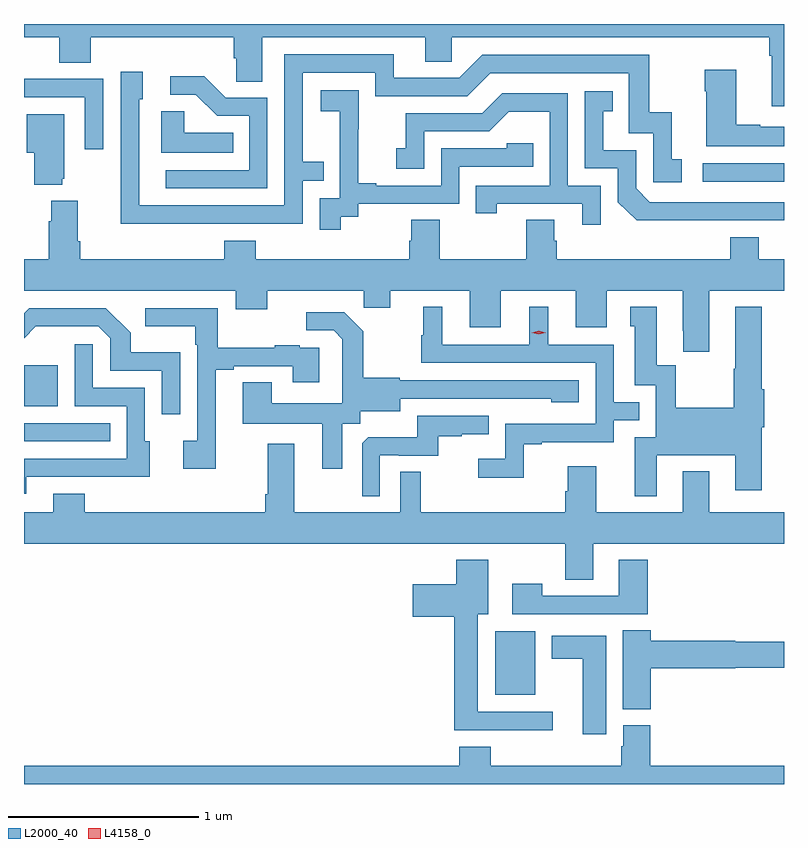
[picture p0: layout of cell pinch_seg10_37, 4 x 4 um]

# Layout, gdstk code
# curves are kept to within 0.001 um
import gdstk
lib = gdstk.Library(unit=1e-6, precision=1e-09)
def R(c, l, rs):  # rectangles x0, y0, x1, y1
    for r in rs: c.add(gdstk.rectangle(r[:2], r[2:], *l))
def P(c, l, *ps):  # polygons
    for p in ps: c.add(gdstk.Polygon(p, *l))
L2000_40 = (2000, 40)
L4158_0 = (4158, 0)

pinch_seg10_37 = lib.new_cell('pinch_seg10_37')
R(pinch_seg10_37, L2000_40, [(903.05,1292.861,903.262,1293.196), (900.57,1294.194,901.025,1294.29), (900.57,1294.379,900.748,1294.594), (904.143,1295.562,904.57,1295.658)])
P(pinch_seg10_37, L2000_40, [(904.57,1296.391),(900.57,1296.391),(900.57,1296.32),(900.755,1296.32),(900.755,1296.187),(900.92,1296.187),(900.92,1296.32),(901.673,1296.32),(901.673,1296.211),(901.686,1296.211),(901.686,1296.088),(901.825,1296.088),(901.825,1296.32),(902.681,1296.32),(902.681,1296.193),(902.82,1296.193),(902.82,1296.32),(904.493,1296.32),(904.493,1296.224),(904.505,1296.224),(904.505,1295.958),(904.57,1295.958)],
  [(901.541,1295.34),(902.037,1295.34),(902.037,1295.565),(902.147,1295.565),(902.147,1295.666),(902.037,1295.666),(902.037,1296.135),(902.418,1296.135),(902.418,1296.012),(902.904,1296.012),(903.024,1296.132),(903.753,1296.132),(903.753,1295.817),(903.882,1295.817),(903.882,1295.559),(904.033,1295.559),(904.033,1295.679),(903.98,1295.679),(903.98,1295.926),(903.862,1295.926),(903.862,1296.228),(902.982,1296.228),(902.862,1296.108),(902.515,1296.108),(902.515,1296.231),(901.941,1296.231),(901.941,1295.436),(901.176,1295.436),(901.176,1295.994),(901.195,1295.994),(901.195,1296.139),(901.08,1296.139),(901.08,1295.645),(901.078,1295.645),(901.078,1295.339)],
  [(904.57,1295.851),(904.445,1295.851),(904.445,1295.861),(904.318,1295.861),(904.318,1296.151),(904.153,1296.151),(904.153,1296.038),(904.16,1296.038),(904.16,1295.747),(904.57,1295.747)],
  [(901.851,1296.003),(901.632,1296.003),(901.519,1296.116),(901.341,1296.116),(901.341,1296.018),(901.475,1296.018),(901.586,1295.907),(901.755,1295.907),(901.755,1295.622),(901.317,1295.622),(901.317,1295.526),(901.851,1295.526)],
  [(900.987,1296.102),(900.671,1296.102),(900.671,1296.104),(900.57,1296.104),(900.57,1296.006),(900.891,1296.006),(900.891,1295.733),(900.987,1295.733)],
  [(902.236,1295.377),(902.328,1295.377),(902.328,1295.445),(902.862,1295.445),(902.862,1295.64),(903.251,1295.64),(903.251,1295.763),(903.111,1295.763),(903.111,1295.736),(902.766,1295.736),(902.766,1295.541),(902.425,1295.541),(902.425,1295.554),(902.33,1295.554),(902.33,1295.837),(902.331,1295.837),(902.331,1296.043),(902.133,1296.043),(902.133,1295.933),(902.231,1295.933),(902.231,1295.705),(902.232,1295.705),(902.232,1295.475),(902.127,1295.475),(902.127,1295.307),(902.236,1295.307)],
  [(904.202,1295.358),(904.57,1295.358),(904.57,1295.454),(903.864,1295.454),(903.792,1295.526),(903.792,1295.727),(903.619,1295.727),(903.619,1295.931),(903.668,1295.931),(903.668,1296.037),(903.522,1296.037),(903.522,1295.631),(903.696,1295.631),(903.696,1295.454),(903.794,1295.357)],
  [(903.606,1295.541),(903.432,1295.541),(903.432,1296.027),(903.086,1296.027),(902.981,1295.922),(902.578,1295.922),(902.578,1295.737),(902.529,1295.737),(902.529,1295.628),(902.676,1295.628),(902.676,1295.826),(903.018,1295.826),(903.122,1295.93),(903.336,1295.93),(903.336,1295.541),(902.947,1295.541),(902.947,1295.394),(903.058,1295.394),(903.058,1295.445),(903.509,1295.445),(903.509,1295.334),(903.606,1295.334)],
  [(901.67,1295.818),(901.413,1295.818),(901.413,1295.933),(901.292,1295.933),(901.292,1295.714),(901.67,1295.714)],
  [(900.77,1295.577),(900.781,1295.577),(900.781,1295.917),(900.584,1295.917),(900.584,1295.714),(900.623,1295.714),(900.623,1295.546),(900.77,1295.546)],
  [(904.177,1294.988),(904.57,1294.988),(904.57,1295.152),(904.438,1295.152),(904.438,1295.269),(904.286,1295.269),(904.286,1295.152),(903.374,1295.152),(903.374,1295.25),(903.361,1295.25),(903.361,1295.36),(903.214,1295.36),(903.214,1295.152),(902.757,1295.152),(902.757,1295.36),(902.609,1295.36),(902.609,1295.25),(902.597,1295.25),(902.597,1295.152),(901.79,1295.152),(901.79,1295.251),(901.625,1295.251),(901.625,1295.152),(900.866,1295.152),(900.866,1295.248),(900.853,1295.248),(900.853,1295.461),(900.713,1295.461),(900.713,1295.354),(900.701,1295.354),(900.701,1295.152),(900.57,1295.152),(900.57,1294.988),(901.685,1294.988),(901.685,1294.889),(901.849,1294.889),(901.849,1294.988),(902.359,1294.988),(902.359,1294.898),(902.497,1294.898),(902.497,1294.988),(902.915,1294.988),(902.915,1294.794),(903.079,1294.794),(903.079,1294.988),(903.473,1294.988),(903.473,1294.794),(903.637,1294.794),(903.637,1294.988),(904.037,1294.988),(904.037,1294.777),(904.04,1294.777),(904.04,1294.665),(904.177,1294.665)],
  [(903.901,1294.121),(904.313,1294.121),(904.313,1293.936),(904.453,1293.936),(904.453,1294.268),(904.466,1294.268),(904.466,1294.468),(904.453,1294.468),(904.453,1294.903),(904.313,1294.903),(904.313,1294.577),(904.306,1294.577),(904.306,1294.372),(903.999,1294.372),(903.999,1294.595),(903.901,1294.595),(903.901,1294.903),(903.761,1294.903),(903.761,1294.8),(903.785,1294.8),(903.785,1294.491),(903.894,1294.491),(903.894,1294.215),(903.785,1294.215),(903.785,1293.906),(903.901,1293.906)],
  [(903.201,1294.179),(903.295,1294.179),(903.295,1294.191),(903.675,1294.191),(903.675,1294.305),(903.809,1294.305),(903.809,1294.401),(903.675,1294.401),(903.675,1294.704),(903.328,1294.704),(903.328,1294.903),(903.23,1294.903),(903.23,1294.704),(902.77,1294.704),(902.77,1294.903),(902.672,1294.903),(902.672,1294.752),(902.661,1294.752),(902.661,1294.608),(903.579,1294.608),(903.579,1294.287),(903.102,1294.287),(903.102,1294.102),(902.961,1294.102),(902.961,1294.004),(903.201,1294.004)],
  [(901.579,1294.572),(901.675,1294.572),(901.675,1294.59),(901.985,1294.59),(901.985,1294.506),(902.125,1294.506),(902.125,1294.686),(902.021,1294.686),(902.021,1294.699),(901.889,1294.699),(901.889,1294.688),(901.591,1294.688),(901.591,1294.896),(901.209,1294.896),(901.209,1294.799),(901.47,1294.799),(901.47,1294.703),(901.482,1294.703),(901.482,1294.198),(901.407,1294.198),(901.407,1294.05),(901.579,1294.05)],
  [(901.392,1294.663),(901.131,1294.663),(901.131,1294.766),(901,1294.896),(900.597,1294.896),(900.57,1294.869),(900.57,1294.737),(900.632,1294.799),(900.96,1294.8),(901.023,1294.737),(901.023,1294.566),(901.296,1294.566),(901.296,1294.338),(901.392,1294.338)],
  [(902.245,1294.288),(902.34,1294.288),(902.34,1294.352),(902.551,1294.352),(902.551,1294.419),(903.345,1294.418),(903.345,1294.4),(903.49,1294.4),(903.49,1294.515),(902.547,1294.515),(902.547,1294.528),(902.355,1294.528),(902.355,1294.773),(902.255,1294.873),(902.055,1294.873),(902.055,1294.779),(902.199,1294.779),(902.246,1294.732),(902.246,1294.637),(902.244,1294.637),(902.244,1294.396),(901.873,1294.396),(901.873,1294.505),(901.721,1294.505),(901.721,1294.286),(902.141,1294.286),(902.141,1294.05),(902.245,1294.05)],
  [(900.583,1294.008),(901.013,1294.008),(901.013,1294.007),(901.231,1294.007),(901.231,1294.194),(901.206,1294.194),(901.206,1294.476),(900.933,1294.476),(900.933,1294.705),(900.837,1294.705),(900.837,1294.38),(901.11,1294.38),(901.11,1294.104),(900.57,1294.104),(900.57,1293.918),(900.583,1293.918)],
  [(902.442,1294.122),(902.542,1294.122),(902.542,1294.119),(902.75,1294.119),(902.75,1294.221),(902.873,1294.221),(902.873,1294.232),(903.017,1294.232),(903.017,1294.329),(902.64,1294.329),(902.64,1294.217),(902.381,1294.217),(902.349,1294.185),(902.349,1293.905),(902.442,1293.905)],
  [(903.565,1293.656),(904.57,1293.656),(904.57,1293.82),(904.177,1293.82),(904.177,1294.036),(904.037,1294.036),(904.037,1293.82),(903.583,1293.82),(903.583,1294.063),(903.431,1294.063),(903.431,1293.933),(903.419,1293.933),(903.419,1293.82),(902.659,1293.82),(902.659,1294.034),(902.55,1294.034),(902.55,1293.82),(901.993,1293.82),(901.993,1294.183),(901.853,1294.183),(901.853,1293.916),(901.841,1293.916),(901.841,1293.82),(900.889,1293.82),(900.889,1293.919),(900.725,1293.919),(900.725,1293.82),(900.57,1293.82),(900.57,1293.656),(903.418,1293.656),(903.418,1293.466),(903.565,1293.466)],
  [(903.854,1293.571),(903.701,1293.571),(903.701,1293.381),(903.297,1293.381),(903.297,1293.445),(903.141,1293.445),(903.141,1293.285),(903.854,1293.285)],
  [(903.352,1292.772),(902.959,1292.772),(902.959,1293.284),(903.013,1293.284),(903.013,1293.571),(902.846,1293.571),(902.846,1293.442),(902.616,1293.442),(902.616,1293.272),(902.834,1293.272),(902.834,1292.675),(903.352,1292.675)],
  [(903.869,1292.999),(904.314,1292.999),(904.314,1293.004),(904.57,1293.004),(904.57,1293.14),(904.314,1293.14),(904.314,1293.146),(903.869,1293.146),(903.869,1293.2),(903.722,1293.2),(903.722,1292.785),(903.869,1292.785)],
  [(903.634,1293.172),(903.347,1293.172),(903.347,1293.05),(903.512,1293.05),(903.512,1292.652),(903.634,1292.652)],
  [(904.57,1292.488),(903.866,1292.488),(903.866,1292.7),(903.725,1292.7),(903.725,1292.589),(903.713,1292.589),(903.713,1292.488),(903.026,1292.488),(903.026,1292.587),(902.861,1292.587),(902.861,1292.488),(900.57,1292.488),(900.57,1292.391),(904.57,1292.391)])
P(pinch_seg10_37, L4158_0, [(903.279,1294.757),(903.243,1294.767),(903.243,1294.767),(903.243,1294.767),(903.279,1294.777),(903.315,1294.767),(903.315,1294.767),(903.315,1294.767)])

lib.write_gds('pinch_seg10_37.gds')
